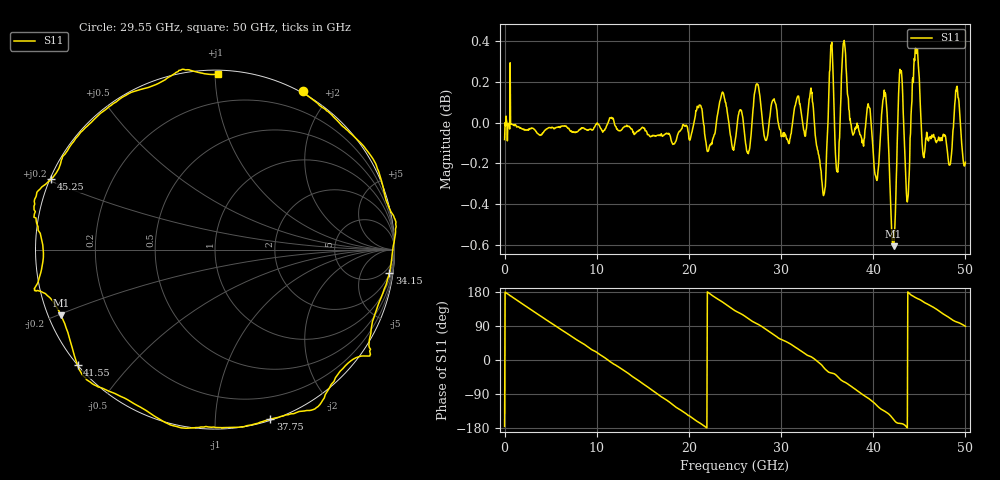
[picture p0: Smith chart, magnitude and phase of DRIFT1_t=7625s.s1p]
!Created with skrf (http://scikit-rf.org).
# Hz S RI R 50.0
!freq ReS11 ImS11
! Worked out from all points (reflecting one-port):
!   1001 points, 300 kHz to 50 GHz, reference 50 ohm
!   lowest |S11| = -0.6 dB at 42.2 GHz (marker M1), VSWR 28.60, Z = 1.82 - j10.2 ohm
!   phase of S11 starts at -175 deg and turns -816 deg over the sweep
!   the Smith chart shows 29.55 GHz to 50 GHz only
!   S11 on the Smith chart (normalised r, x): 29.55 GHz: -0.01, +1.70; 34.15 GHz: 2, -15; 37.75 GHz: 0.01, -1.38; 41.55 GHz: 0.00, -0.36; 45.25 GHz: 0.00, +0.21; 50 GHz: 0.02, +1.02
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300000  -0.9873 -0.0802
1.500291e9  -0.9055 0.4185
3.30028e9  -0.5806 0.809
6.250262e9  0.2021 0.9775
9.500243e9  0.8909 0.4447
1.250022e10  0.9324 -0.3489
1.580021e10  0.2394 -0.9628
1.74002e10  -0.2228 -0.9682
1.875019e10  -0.5966 -0.7935
2.150017e10  -0.9919 -0.1504
2.350016e10  -0.9216 0.4249
2.500015e10  -0.6371 0.7564
2.735014e10  -0.1072 1.017
2.955012e10  0.4876 0.881
3.125011e10  0.7839 0.6213
3.31001e10  0.9986 0.1773
3.41501e10  0.9714 -0.1299
3.520009e10  0.8606 -0.5469
3.750008e10  0.3795 -0.9277
3.775007e10  0.3078 -0.945
3.955006e10  -0.2158 -0.9852
4.155005e10  -0.7654 -0.6423
4.220005e10  -0.8579 -0.3653
4.290004e10  -1.005 -0.2285
4.375004e10  -0.9579 0.00528
4.525003e10  -0.9131 0.3933
4.775001e10  -0.4856 0.8662
5e10  0.0177 0.9777
